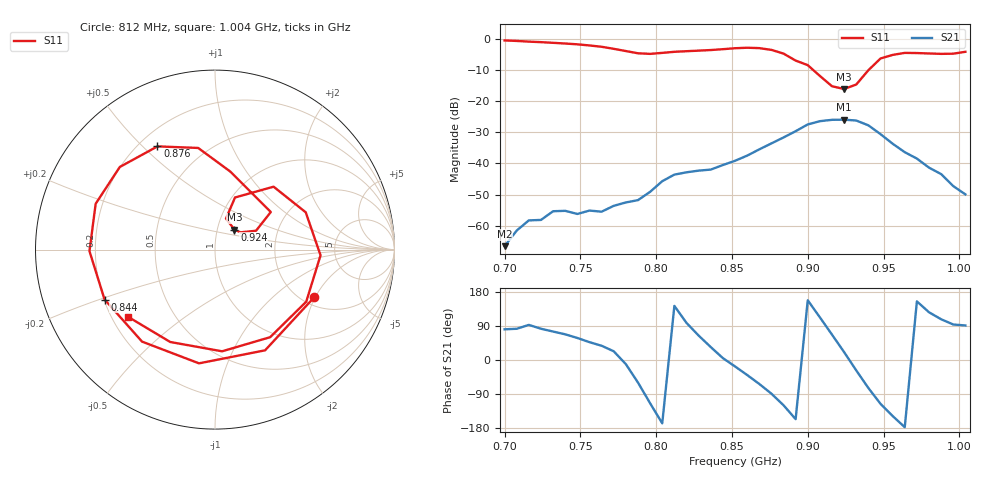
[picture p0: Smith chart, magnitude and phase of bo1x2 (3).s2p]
# Hz S RI R 50
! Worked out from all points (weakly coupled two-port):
!   39 points, 700 MHz to 1.004 GHz, reference 50 ohm
!   highest |S21| = -25.99 dB at 924 MHz (marker M1); lowest = -66.5 dB at 700 MHz (marker M2)
!   lowest |S11| = -16.2 dB at 924 MHz (marker M3), VSWR 1.37, Z = 60.5 + j13.8 ohm
!   |S11| at or under -10 dB: 903.4 MHz to 940.3 MHz (36.9 MHz wide, 4 % of centre)
!   S12 and S22 are empty: the file has one direction only
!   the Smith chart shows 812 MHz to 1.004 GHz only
!   S11 on the Smith chart (normalised r, x): 812 MHz: 2.30, -1.96; 844 MHz: 0.20, -0.21; 876 MHz: 0.27, +0.55; 924 MHz: 1.21, +0.28; 1.004 GHz: 0.27, -0.32
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7e8  0.7459 0.558  7.39e-05 0.000467  0 0  0 0
7.24e8  0.8437 -0.2317  0.000163 0.00123  0 0  0 0
7.4e8  0.465 -0.6899  0.000659 0.00161  0 0  0 0
7.56e8  -0.1799 -0.7537  0.0012 0.00129  0 0  0 0
7.72e8  -0.6518 -0.208  0.00193 0.000817  0 0  0 0
7.8e8  -0.5923 0.2153  0.00233 -0.000453  0 0  0 0
7.88e8  -0.2501 0.5237  0.00131 -0.00223  0 0  0 0
7.96e8  0.2283 0.5202  -0.00143 -0.0032  0 0  0 0
8.04e8  0.5609 0.18  -0.00506 -0.00116  0 0  0 0
8.12e8  0.5524 -0.266  -0.00526 0.004  0 0  0 0
8.28e8  -0.0891 -0.6337  0.00329 0.00691  0 0  0 0
8.44e8  -0.6151 -0.2783  0.00938 0.000819  0 0  0 0
8.52e8  -0.6993 -0.00875  0.0105 -0.0032  0 0  0 0
8.76e8  -0.3204 0.575  0.00044 -0.0209  0 0  0 0
9e8  0.3108 0.2095  -0.0389 0.0161  0 0  0 0
9.08e8  0.2287 0.1052  -0.0182 0.0438  0 0  0 0
9.24e8  0.1086 0.1111  0.0469 0.0178  0 0  0 0
9.4e8  0.1115 0.2903  0.0112 -0.0391  0 0  0 0
9.56e8  0.5056 0.2076  -0.0175 -0.011  0 0  0 0
9.64e8  0.588 -0.0319  -0.0151 -0.000708  0 0  0 0
9.8e8  0.3071 -0.4881  -0.00502 0.00692  0 0  0 0
1.004e9  -0.4868 -0.373  -6.49e-05 0.00319  0 0  0 0
